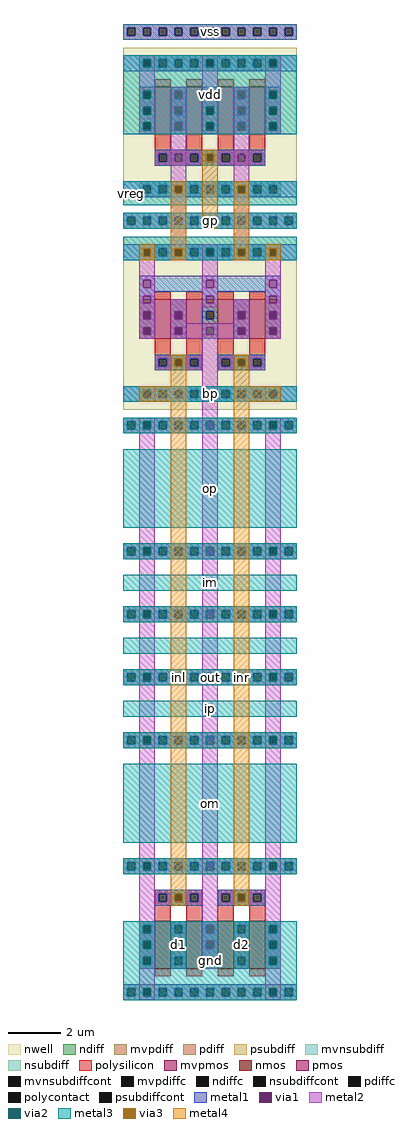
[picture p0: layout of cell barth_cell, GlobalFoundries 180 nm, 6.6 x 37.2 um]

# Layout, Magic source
magic
tech gf180mcuC
<< nwell >>
rect -720 474 -588 594
rect -720 318 -588 450
<< nmos >>
rect -696 -108 -684 -72
rect -672 -108 -660 -72
rect -648 -108 -636 -72
rect -624 -108 -612 -72
<< pmos >>
rect -696 372 -684 402
rect -672 372 -660 402
rect -648 372 -636 402
rect -624 372 -612 402
<< mvpmos >>
rect -696 528 -684 564
rect -672 528 -660 564
rect -648 528 -636 564
rect -624 528 -612 564
<< ndiff >>
rect -708 -75 -696 -72
rect -708 -81 -705 -75
rect -699 -81 -696 -75
rect -708 -87 -696 -81
rect -708 -93 -705 -87
rect -699 -93 -696 -87
rect -708 -99 -696 -93
rect -708 -105 -705 -99
rect -699 -105 -696 -99
rect -708 -108 -696 -105
rect -684 -75 -672 -72
rect -684 -81 -681 -75
rect -675 -81 -672 -75
rect -684 -87 -672 -81
rect -684 -93 -681 -87
rect -675 -93 -672 -87
rect -684 -99 -672 -93
rect -684 -105 -681 -99
rect -675 -105 -672 -99
rect -684 -108 -672 -105
rect -660 -75 -648 -72
rect -660 -81 -657 -75
rect -651 -81 -648 -75
rect -660 -87 -648 -81
rect -660 -93 -657 -87
rect -651 -93 -648 -87
rect -660 -99 -648 -93
rect -660 -105 -657 -99
rect -651 -105 -648 -99
rect -660 -108 -648 -105
rect -636 -75 -624 -72
rect -636 -81 -633 -75
rect -627 -81 -624 -75
rect -636 -87 -624 -81
rect -636 -93 -633 -87
rect -627 -93 -624 -87
rect -636 -99 -624 -93
rect -636 -105 -633 -99
rect -627 -105 -624 -99
rect -636 -108 -624 -105
rect -612 -75 -600 -72
rect -612 -81 -609 -75
rect -603 -81 -600 -75
rect -612 -87 -600 -81
rect -612 -93 -609 -87
rect -603 -93 -600 -87
rect -612 -99 -600 -93
rect -612 -105 -609 -99
rect -603 -105 -600 -99
rect -612 -108 -600 -105
<< pdiff >>
rect -708 393 -696 402
rect -708 387 -705 393
rect -699 387 -696 393
rect -708 381 -696 387
rect -708 375 -705 381
rect -699 375 -696 381
rect -708 372 -696 375
rect -684 393 -672 402
rect -684 387 -681 393
rect -675 387 -672 393
rect -684 381 -672 387
rect -684 375 -681 381
rect -675 375 -672 381
rect -684 372 -672 375
rect -660 393 -648 402
rect -660 387 -657 393
rect -651 387 -648 393
rect -660 381 -648 387
rect -660 375 -657 381
rect -651 375 -648 381
rect -660 372 -648 375
rect -636 393 -624 402
rect -636 387 -633 393
rect -627 387 -624 393
rect -636 381 -624 387
rect -636 375 -633 381
rect -627 375 -624 381
rect -636 372 -624 375
rect -612 393 -600 402
rect -612 387 -609 393
rect -603 387 -600 393
rect -612 381 -600 387
rect -612 375 -609 381
rect -603 375 -600 381
rect -612 372 -600 375
<< mvpdiff >>
rect -708 561 -696 564
rect -708 555 -705 561
rect -699 555 -696 561
rect -708 549 -696 555
rect -708 543 -705 549
rect -699 543 -696 549
rect -708 537 -696 543
rect -708 531 -705 537
rect -699 531 -696 537
rect -708 528 -696 531
rect -684 561 -672 564
rect -684 555 -681 561
rect -675 555 -672 561
rect -684 549 -672 555
rect -684 543 -681 549
rect -675 543 -672 549
rect -684 537 -672 543
rect -684 531 -681 537
rect -675 531 -672 537
rect -684 528 -672 531
rect -660 561 -648 564
rect -660 555 -657 561
rect -651 555 -648 561
rect -660 549 -648 555
rect -660 543 -657 549
rect -651 543 -648 549
rect -660 537 -648 543
rect -660 531 -657 537
rect -651 531 -648 537
rect -660 528 -648 531
rect -636 561 -624 564
rect -636 555 -633 561
rect -627 555 -624 561
rect -636 549 -624 555
rect -636 543 -633 549
rect -627 543 -624 549
rect -636 537 -624 543
rect -636 531 -633 537
rect -627 531 -624 537
rect -636 528 -624 531
rect -612 561 -600 564
rect -612 555 -609 561
rect -603 555 -600 561
rect -612 549 -600 555
rect -612 543 -609 549
rect -603 543 -600 549
rect -612 537 -600 543
rect -612 531 -609 537
rect -603 531 -600 537
rect -612 528 -600 531
<< ndiffc >>
rect -705 -81 -699 -75
rect -705 -93 -699 -87
rect -705 -105 -699 -99
rect -681 -81 -675 -75
rect -681 -93 -675 -87
rect -681 -105 -675 -99
rect -657 -81 -651 -75
rect -657 -93 -651 -87
rect -657 -105 -651 -99
rect -633 -81 -627 -75
rect -633 -93 -627 -87
rect -633 -105 -627 -99
rect -609 -81 -603 -75
rect -609 -93 -603 -87
rect -609 -105 -603 -99
<< pdiffc >>
rect -705 387 -699 393
rect -705 375 -699 381
rect -681 387 -675 393
rect -681 375 -675 381
rect -657 387 -651 393
rect -657 375 -651 381
rect -633 387 -627 393
rect -633 375 -627 381
rect -609 387 -603 393
rect -609 375 -603 381
<< mvpdiffc >>
rect -705 555 -699 561
rect -705 543 -699 549
rect -705 531 -699 537
rect -681 555 -675 561
rect -681 543 -675 549
rect -681 531 -675 537
rect -657 555 -651 561
rect -657 543 -651 549
rect -657 531 -651 537
rect -633 555 -627 561
rect -633 543 -627 549
rect -633 531 -627 537
rect -609 555 -603 561
rect -609 543 -603 549
rect -609 531 -603 537
<< psubdiff >>
rect -720 609 -588 612
rect -720 603 -717 609
rect -711 603 -705 609
rect -699 603 -693 609
rect -687 603 -681 609
rect -675 603 -669 609
rect -663 603 -657 609
rect -651 603 -645 609
rect -639 603 -633 609
rect -627 603 -621 609
rect -615 603 -609 609
rect -603 603 -597 609
rect -591 603 -588 609
rect -720 600 -588 603
rect -720 465 -588 468
rect -720 459 -717 465
rect -711 459 -705 465
rect -699 459 -693 465
rect -687 459 -681 465
rect -675 459 -669 465
rect -663 459 -657 465
rect -651 459 -645 465
rect -639 459 -633 465
rect -627 459 -621 465
rect -615 459 -609 465
rect -603 459 -597 465
rect -591 459 -588 465
rect -720 456 -588 459
rect -720 309 -588 312
rect -720 303 -717 309
rect -711 303 -705 309
rect -699 303 -693 309
rect -687 303 -681 309
rect -675 303 -669 309
rect -663 303 -657 309
rect -651 303 -645 309
rect -639 303 -633 309
rect -627 303 -621 309
rect -615 303 -609 309
rect -603 303 -597 309
rect -591 303 -588 309
rect -720 300 -588 303
rect -720 213 -588 216
rect -720 207 -717 213
rect -711 207 -705 213
rect -699 207 -693 213
rect -687 207 -681 213
rect -675 207 -669 213
rect -663 207 -657 213
rect -651 207 -645 213
rect -639 207 -633 213
rect -627 207 -621 213
rect -615 207 -609 213
rect -603 207 -597 213
rect -591 207 -588 213
rect -720 204 -588 207
rect -720 165 -588 168
rect -720 159 -717 165
rect -711 159 -705 165
rect -699 159 -693 165
rect -687 159 -681 165
rect -675 159 -669 165
rect -663 159 -657 165
rect -651 159 -645 165
rect -639 159 -633 165
rect -627 159 -621 165
rect -615 159 -609 165
rect -603 159 -597 165
rect -591 159 -588 165
rect -720 156 -588 159
rect -720 117 -588 120
rect -720 111 -717 117
rect -711 111 -705 117
rect -699 111 -693 117
rect -687 111 -681 117
rect -675 111 -669 117
rect -663 111 -657 117
rect -651 111 -645 117
rect -639 111 -633 117
rect -627 111 -621 117
rect -615 111 -609 117
rect -603 111 -597 117
rect -591 111 -588 117
rect -720 108 -588 111
rect -720 69 -588 72
rect -720 63 -717 69
rect -711 63 -705 69
rect -699 63 -693 69
rect -687 63 -681 69
rect -675 63 -669 69
rect -663 63 -657 69
rect -651 63 -645 69
rect -639 63 -633 69
rect -627 63 -621 69
rect -615 63 -609 69
rect -603 63 -597 69
rect -591 63 -588 69
rect -720 60 -588 63
rect -720 -27 -588 -24
rect -720 -33 -717 -27
rect -711 -33 -705 -27
rect -699 -33 -693 -27
rect -687 -33 -681 -27
rect -675 -33 -669 -27
rect -663 -33 -657 -27
rect -651 -33 -645 -27
rect -639 -33 -633 -27
rect -627 -33 -621 -27
rect -615 -33 -609 -27
rect -603 -33 -597 -27
rect -591 -33 -588 -27
rect -720 -36 -588 -33
rect -720 -123 -588 -120
rect -720 -129 -717 -123
rect -711 -129 -705 -123
rect -699 -129 -693 -123
rect -687 -129 -681 -123
rect -675 -129 -669 -123
rect -663 -129 -657 -123
rect -651 -129 -645 -123
rect -639 -129 -633 -123
rect -627 -129 -621 -123
rect -615 -129 -609 -123
rect -603 -129 -597 -123
rect -591 -129 -588 -123
rect -720 -132 -588 -129
<< nsubdiff >>
rect -708 441 -600 444
rect -708 435 -705 441
rect -699 435 -693 441
rect -687 435 -681 441
rect -675 435 -669 441
rect -663 435 -657 441
rect -651 435 -645 441
rect -639 435 -633 441
rect -627 435 -621 441
rect -615 435 -609 441
rect -603 435 -600 441
rect -708 432 -600 435
rect -708 333 -600 336
rect -708 327 -705 333
rect -699 327 -693 333
rect -687 327 -681 333
rect -675 327 -669 333
rect -663 327 -657 333
rect -651 327 -645 333
rect -639 327 -633 333
rect -627 327 -621 333
rect -615 327 -609 333
rect -603 327 -600 333
rect -708 324 -600 327
<< mvnsubdiff >>
rect -708 585 -600 588
rect -708 579 -705 585
rect -699 579 -693 585
rect -687 579 -681 585
rect -675 579 -669 585
rect -663 579 -657 585
rect -651 579 -645 585
rect -639 579 -633 585
rect -627 579 -621 585
rect -615 579 -609 585
rect -603 579 -600 585
rect -708 576 -600 579
rect -708 489 -600 492
rect -708 483 -705 489
rect -699 483 -693 489
rect -687 483 -681 489
rect -675 483 -669 489
rect -663 483 -657 489
rect -651 483 -645 489
rect -639 483 -633 489
rect -627 483 -621 489
rect -615 483 -609 489
rect -603 483 -600 489
rect -708 480 -600 483
<< psubdiffcont >>
rect -717 603 -711 609
rect -705 603 -699 609
rect -693 603 -687 609
rect -681 603 -675 609
rect -669 603 -663 609
rect -657 603 -651 609
rect -645 603 -639 609
rect -633 603 -627 609
rect -621 603 -615 609
rect -609 603 -603 609
rect -597 603 -591 609
rect -717 459 -711 465
rect -705 459 -699 465
rect -693 459 -687 465
rect -681 459 -675 465
rect -669 459 -663 465
rect -657 459 -651 465
rect -645 459 -639 465
rect -633 459 -627 465
rect -621 459 -615 465
rect -609 459 -603 465
rect -597 459 -591 465
rect -717 303 -711 309
rect -705 303 -699 309
rect -693 303 -687 309
rect -681 303 -675 309
rect -669 303 -663 309
rect -657 303 -651 309
rect -645 303 -639 309
rect -633 303 -627 309
rect -621 303 -615 309
rect -609 303 -603 309
rect -597 303 -591 309
rect -717 207 -711 213
rect -705 207 -699 213
rect -693 207 -687 213
rect -681 207 -675 213
rect -669 207 -663 213
rect -657 207 -651 213
rect -645 207 -639 213
rect -633 207 -627 213
rect -621 207 -615 213
rect -609 207 -603 213
rect -597 207 -591 213
rect -717 159 -711 165
rect -705 159 -699 165
rect -693 159 -687 165
rect -681 159 -675 165
rect -669 159 -663 165
rect -657 159 -651 165
rect -645 159 -639 165
rect -633 159 -627 165
rect -621 159 -615 165
rect -609 159 -603 165
rect -597 159 -591 165
rect -717 111 -711 117
rect -705 111 -699 117
rect -693 111 -687 117
rect -681 111 -675 117
rect -669 111 -663 117
rect -657 111 -651 117
rect -645 111 -639 117
rect -633 111 -627 117
rect -621 111 -615 117
rect -609 111 -603 117
rect -597 111 -591 117
rect -717 63 -711 69
rect -705 63 -699 69
rect -693 63 -687 69
rect -681 63 -675 69
rect -669 63 -663 69
rect -657 63 -651 69
rect -645 63 -639 69
rect -633 63 -627 69
rect -621 63 -615 69
rect -609 63 -603 69
rect -597 63 -591 69
rect -717 -33 -711 -27
rect -705 -33 -699 -27
rect -693 -33 -687 -27
rect -681 -33 -675 -27
rect -669 -33 -663 -27
rect -657 -33 -651 -27
rect -645 -33 -639 -27
rect -633 -33 -627 -27
rect -621 -33 -615 -27
rect -609 -33 -603 -27
rect -597 -33 -591 -27
rect -717 -129 -711 -123
rect -705 -129 -699 -123
rect -693 -129 -687 -123
rect -681 -129 -675 -123
rect -669 -129 -663 -123
rect -657 -129 -651 -123
rect -645 -129 -639 -123
rect -633 -129 -627 -123
rect -621 -129 -615 -123
rect -609 -129 -603 -123
rect -597 -129 -591 -123
<< nsubdiffcont >>
rect -705 435 -699 441
rect -693 435 -687 441
rect -681 435 -675 441
rect -669 435 -663 441
rect -657 435 -651 441
rect -645 435 -639 441
rect -633 435 -627 441
rect -621 435 -615 441
rect -609 435 -603 441
rect -705 327 -699 333
rect -693 327 -687 333
rect -681 327 -675 333
rect -669 327 -663 333
rect -657 327 -651 333
rect -645 327 -639 333
rect -633 327 -627 333
rect -621 327 -615 333
rect -609 327 -603 333
<< mvnsubdiffcont >>
rect -705 579 -699 585
rect -693 579 -687 585
rect -681 579 -675 585
rect -669 579 -663 585
rect -657 579 -651 585
rect -645 579 -639 585
rect -633 579 -627 585
rect -621 579 -615 585
rect -609 579 -603 585
rect -705 483 -699 489
rect -693 483 -687 489
rect -681 483 -675 489
rect -669 483 -663 489
rect -657 483 -651 489
rect -645 483 -639 489
rect -633 483 -627 489
rect -621 483 -615 489
rect -609 483 -603 489
<< polysilicon >>
rect -696 564 -684 570
rect -672 564 -660 570
rect -648 564 -636 570
rect -624 564 -612 570
rect -696 516 -684 528
rect -672 516 -660 528
rect -648 516 -636 528
rect -624 516 -612 528
rect -696 513 -612 516
rect -696 507 -693 513
rect -687 507 -681 513
rect -675 507 -669 513
rect -663 507 -657 513
rect -651 507 -645 513
rect -639 507 -633 513
rect -627 507 -621 513
rect -615 507 -612 513
rect -696 504 -612 507
rect -696 402 -684 408
rect -672 402 -660 408
rect -648 402 -636 408
rect -624 402 -612 408
rect -696 360 -684 372
rect -672 360 -660 372
rect -696 357 -660 360
rect -696 351 -693 357
rect -687 351 -681 357
rect -675 351 -669 357
rect -663 351 -660 357
rect -696 348 -660 351
rect -648 360 -636 372
rect -624 360 -612 372
rect -648 357 -612 360
rect -648 351 -645 357
rect -639 351 -633 357
rect -627 351 -621 357
rect -615 351 -612 357
rect -648 348 -612 351
rect -696 -51 -660 -48
rect -696 -57 -693 -51
rect -687 -57 -681 -51
rect -675 -57 -669 -51
rect -663 -57 -660 -51
rect -696 -60 -660 -57
rect -696 -72 -684 -60
rect -672 -72 -660 -60
rect -648 -51 -612 -48
rect -648 -57 -645 -51
rect -639 -57 -633 -51
rect -627 -57 -621 -51
rect -615 -57 -612 -51
rect -648 -60 -612 -57
rect -648 -72 -636 -60
rect -624 -72 -612 -60
rect -696 -114 -684 -108
rect -672 -114 -660 -108
rect -648 -114 -636 -108
rect -624 -114 -612 -108
<< polycontact >>
rect -693 507 -687 513
rect -681 507 -675 513
rect -669 507 -663 513
rect -657 507 -651 513
rect -645 507 -639 513
rect -633 507 -627 513
rect -621 507 -615 513
rect -693 351 -687 357
rect -681 351 -675 357
rect -669 351 -663 357
rect -645 351 -639 357
rect -633 351 -627 357
rect -621 351 -615 357
rect -693 -57 -687 -51
rect -681 -57 -675 -51
rect -669 -57 -663 -51
rect -645 -57 -639 -51
rect -633 -57 -627 -51
rect -621 -57 -615 -51
<< metal1 >>
rect -720 609 -588 612
rect -720 603 -717 609
rect -711 603 -705 609
rect -699 603 -693 609
rect -687 603 -681 609
rect -675 603 -669 609
rect -663 603 -657 609
rect -651 603 -645 609
rect -639 603 -633 609
rect -627 603 -621 609
rect -615 603 -609 609
rect -603 603 -597 609
rect -591 603 -588 609
rect -720 600 -588 603
rect -720 585 -588 588
rect -720 579 -705 585
rect -699 579 -693 585
rect -687 579 -681 585
rect -675 579 -669 585
rect -663 579 -657 585
rect -651 579 -645 585
rect -639 579 -633 585
rect -627 579 -621 585
rect -615 579 -609 585
rect -603 579 -588 585
rect -720 576 -588 579
rect -708 561 -696 564
rect -708 555 -705 561
rect -699 555 -696 561
rect -708 549 -696 555
rect -708 543 -705 549
rect -699 543 -696 549
rect -708 537 -696 543
rect -708 531 -705 537
rect -699 531 -696 537
rect -708 528 -696 531
rect -684 561 -672 564
rect -684 555 -681 561
rect -675 555 -672 561
rect -684 549 -672 555
rect -684 543 -681 549
rect -675 543 -672 549
rect -684 537 -672 543
rect -684 531 -681 537
rect -675 531 -672 537
rect -684 528 -672 531
rect -660 561 -648 564
rect -660 555 -657 561
rect -651 555 -648 561
rect -660 549 -648 555
rect -660 543 -657 549
rect -651 543 -648 549
rect -660 537 -648 543
rect -660 531 -657 537
rect -651 531 -648 537
rect -660 528 -648 531
rect -636 561 -624 564
rect -636 555 -633 561
rect -627 555 -624 561
rect -636 549 -624 555
rect -636 543 -633 549
rect -627 543 -624 549
rect -636 537 -624 543
rect -636 531 -633 537
rect -627 531 -624 537
rect -636 528 -624 531
rect -612 561 -600 564
rect -612 555 -609 561
rect -603 555 -600 561
rect -612 549 -600 555
rect -612 543 -609 549
rect -603 543 -600 549
rect -612 537 -600 543
rect -612 531 -609 537
rect -603 531 -600 537
rect -612 528 -600 531
rect -696 513 -612 516
rect -696 507 -693 513
rect -687 507 -681 513
rect -675 507 -669 513
rect -663 507 -657 513
rect -651 507 -645 513
rect -639 507 -633 513
rect -627 507 -621 513
rect -615 507 -612 513
rect -696 504 -612 507
rect -720 489 -588 492
rect -720 483 -705 489
rect -699 483 -693 489
rect -687 483 -681 489
rect -675 483 -669 489
rect -663 483 -657 489
rect -651 483 -645 489
rect -639 483 -633 489
rect -627 483 -621 489
rect -615 483 -609 489
rect -603 483 -588 489
rect -720 480 -588 483
rect -720 465 -588 468
rect -720 459 -717 465
rect -711 459 -705 465
rect -699 459 -693 465
rect -687 459 -681 465
rect -675 459 -669 465
rect -663 459 -657 465
rect -651 459 -645 465
rect -639 459 -633 465
rect -627 459 -621 465
rect -615 459 -609 465
rect -603 459 -597 465
rect -591 459 -588 465
rect -720 456 -588 459
rect -720 441 -588 444
rect -720 435 -705 441
rect -699 435 -693 441
rect -687 435 -681 441
rect -675 435 -669 441
rect -663 435 -657 441
rect -651 435 -645 441
rect -639 435 -633 441
rect -627 435 -621 441
rect -615 435 -609 441
rect -603 435 -588 441
rect -720 432 -588 435
rect -708 417 -600 420
rect -708 411 -705 417
rect -699 411 -657 417
rect -651 411 -609 417
rect -603 411 -600 417
rect -708 408 -600 411
rect -708 405 -696 408
rect -708 399 -705 405
rect -699 399 -696 405
rect -660 405 -648 408
rect -708 393 -696 399
rect -708 387 -705 393
rect -699 387 -696 393
rect -708 381 -696 387
rect -708 375 -705 381
rect -699 375 -696 381
rect -708 372 -696 375
rect -684 393 -672 402
rect -684 387 -681 393
rect -675 387 -672 393
rect -684 381 -672 387
rect -684 375 -681 381
rect -675 375 -672 381
rect -684 372 -672 375
rect -660 399 -657 405
rect -651 399 -648 405
rect -612 405 -600 408
rect -660 393 -648 399
rect -660 387 -657 393
rect -651 387 -648 393
rect -660 381 -648 387
rect -660 375 -657 381
rect -651 375 -648 381
rect -660 372 -648 375
rect -636 393 -624 402
rect -636 387 -633 393
rect -627 387 -624 393
rect -636 381 -624 387
rect -636 375 -633 381
rect -627 375 -624 381
rect -636 372 -624 375
rect -612 399 -609 405
rect -603 399 -600 405
rect -612 393 -600 399
rect -612 387 -609 393
rect -603 387 -600 393
rect -612 381 -600 387
rect -612 375 -609 381
rect -603 375 -600 381
rect -612 372 -600 375
rect -696 357 -660 360
rect -696 351 -693 357
rect -687 351 -681 357
rect -675 351 -669 357
rect -663 351 -660 357
rect -696 348 -660 351
rect -648 357 -612 360
rect -648 351 -645 357
rect -639 351 -633 357
rect -627 351 -621 357
rect -615 351 -612 357
rect -648 348 -612 351
rect -720 333 -588 336
rect -720 327 -705 333
rect -699 327 -693 333
rect -687 327 -681 333
rect -675 327 -669 333
rect -663 327 -657 333
rect -651 327 -645 333
rect -639 327 -633 333
rect -627 327 -621 333
rect -615 327 -609 333
rect -603 327 -588 333
rect -720 324 -588 327
rect -720 309 -588 312
rect -720 303 -717 309
rect -711 303 -705 309
rect -699 303 -693 309
rect -687 303 -681 309
rect -675 303 -669 309
rect -663 303 -657 309
rect -651 303 -645 309
rect -639 303 -633 309
rect -627 303 -621 309
rect -615 303 -609 309
rect -603 303 -597 309
rect -591 303 -588 309
rect -720 300 -588 303
rect -720 213 -588 216
rect -720 207 -717 213
rect -711 207 -705 213
rect -699 207 -693 213
rect -687 207 -681 213
rect -675 207 -669 213
rect -663 207 -657 213
rect -651 207 -645 213
rect -639 207 -633 213
rect -627 207 -621 213
rect -615 207 -609 213
rect -603 207 -597 213
rect -591 207 -588 213
rect -720 204 -588 207
rect -720 165 -588 168
rect -720 159 -717 165
rect -711 159 -705 165
rect -699 159 -693 165
rect -687 159 -681 165
rect -675 159 -669 165
rect -663 159 -657 165
rect -651 159 -645 165
rect -639 159 -633 165
rect -627 159 -621 165
rect -615 159 -609 165
rect -603 159 -597 165
rect -591 159 -588 165
rect -720 156 -588 159
rect -720 117 -588 120
rect -720 111 -717 117
rect -711 111 -705 117
rect -699 111 -693 117
rect -687 111 -681 117
rect -675 111 -669 117
rect -663 111 -657 117
rect -651 111 -645 117
rect -639 111 -633 117
rect -627 111 -621 117
rect -615 111 -609 117
rect -603 111 -597 117
rect -591 111 -588 117
rect -720 108 -588 111
rect -720 69 -588 72
rect -720 63 -717 69
rect -711 63 -705 69
rect -699 63 -693 69
rect -687 63 -681 69
rect -675 63 -669 69
rect -663 63 -657 69
rect -651 63 -645 69
rect -639 63 -633 69
rect -627 63 -621 69
rect -615 63 -609 69
rect -603 63 -597 69
rect -591 63 -588 69
rect -720 60 -588 63
rect -720 -27 -588 -24
rect -720 -33 -717 -27
rect -711 -33 -705 -27
rect -699 -33 -693 -27
rect -687 -33 -681 -27
rect -675 -33 -669 -27
rect -663 -33 -657 -27
rect -651 -33 -645 -27
rect -639 -33 -633 -27
rect -627 -33 -621 -27
rect -615 -33 -609 -27
rect -603 -33 -597 -27
rect -591 -33 -588 -27
rect -720 -36 -588 -33
rect -696 -51 -660 -48
rect -696 -57 -693 -51
rect -687 -57 -681 -51
rect -675 -57 -669 -51
rect -663 -57 -660 -51
rect -696 -60 -660 -57
rect -648 -51 -612 -48
rect -648 -57 -645 -51
rect -639 -57 -633 -51
rect -627 -57 -621 -51
rect -615 -57 -612 -51
rect -648 -60 -612 -57
rect -708 -75 -696 -72
rect -708 -81 -705 -75
rect -699 -81 -696 -75
rect -708 -87 -696 -81
rect -708 -93 -705 -87
rect -699 -93 -696 -87
rect -708 -99 -696 -93
rect -708 -105 -705 -99
rect -699 -105 -696 -99
rect -708 -108 -696 -105
rect -684 -75 -672 -72
rect -684 -81 -681 -75
rect -675 -81 -672 -75
rect -684 -87 -672 -81
rect -684 -93 -681 -87
rect -675 -93 -672 -87
rect -684 -99 -672 -93
rect -684 -105 -681 -99
rect -675 -105 -672 -99
rect -684 -108 -672 -105
rect -660 -75 -648 -72
rect -660 -81 -657 -75
rect -651 -81 -648 -75
rect -660 -87 -648 -81
rect -660 -93 -657 -87
rect -651 -93 -648 -87
rect -660 -99 -648 -93
rect -660 -105 -657 -99
rect -651 -105 -648 -99
rect -660 -108 -648 -105
rect -636 -75 -624 -72
rect -636 -81 -633 -75
rect -627 -81 -624 -75
rect -636 -87 -624 -81
rect -636 -93 -633 -87
rect -627 -93 -624 -87
rect -636 -99 -624 -93
rect -636 -105 -633 -99
rect -627 -105 -624 -99
rect -636 -108 -624 -105
rect -612 -75 -600 -72
rect -612 -81 -609 -75
rect -603 -81 -600 -75
rect -612 -87 -600 -81
rect -612 -93 -609 -87
rect -603 -93 -600 -87
rect -612 -99 -600 -93
rect -612 -105 -609 -99
rect -603 -105 -600 -99
rect -612 -108 -600 -105
rect -720 -123 -588 -120
rect -720 -129 -717 -123
rect -711 -129 -705 -123
rect -699 -129 -693 -123
rect -687 -129 -681 -123
rect -675 -129 -669 -123
rect -663 -129 -657 -123
rect -651 -129 -645 -123
rect -639 -129 -633 -123
rect -627 -129 -621 -123
rect -615 -129 -609 -123
rect -603 -129 -597 -123
rect -591 -129 -588 -123
rect -720 -132 -588 -129
<< via1 >>
rect -705 579 -699 585
rect -657 579 -651 585
rect -609 579 -603 585
rect -705 555 -699 561
rect -705 543 -699 549
rect -705 531 -699 537
rect -681 555 -675 561
rect -681 543 -675 549
rect -681 531 -675 537
rect -657 555 -651 561
rect -657 543 -651 549
rect -657 531 -651 537
rect -633 555 -627 561
rect -633 543 -627 549
rect -633 531 -627 537
rect -609 555 -603 561
rect -609 543 -603 549
rect -609 531 -603 537
rect -657 507 -651 513
rect -705 411 -699 417
rect -657 411 -651 417
rect -609 411 -603 417
rect -705 399 -699 405
rect -705 387 -699 393
rect -705 375 -699 381
rect -681 387 -675 393
rect -681 375 -675 381
rect -657 399 -651 405
rect -633 387 -627 393
rect -633 375 -627 381
rect -609 399 -603 405
rect -609 387 -603 393
rect -609 375 -603 381
rect -681 351 -675 357
rect -633 351 -627 357
rect -705 327 -699 333
rect -609 327 -603 333
rect -705 303 -699 309
rect -609 303 -603 309
rect -705 207 -699 213
rect -609 207 -603 213
rect -705 159 -699 165
rect -609 159 -603 165
rect -705 111 -699 117
rect -609 111 -603 117
rect -705 63 -699 69
rect -609 63 -603 69
rect -705 -33 -699 -27
rect -609 -33 -603 -27
rect -681 -57 -675 -51
rect -633 -57 -627 -51
rect -705 -81 -699 -75
rect -705 -93 -699 -87
rect -705 -105 -699 -99
rect -657 -81 -651 -75
rect -657 -93 -651 -87
rect -657 -105 -651 -99
rect -609 -81 -603 -75
rect -609 -93 -603 -87
rect -609 -105 -603 -99
rect -705 -129 -699 -123
rect -609 -129 -603 -123
<< metal2 >>
rect -708 585 -696 588
rect -708 579 -705 585
rect -699 579 -696 585
rect -708 561 -696 579
rect -660 585 -648 588
rect -660 579 -657 585
rect -651 579 -648 585
rect -708 555 -705 561
rect -699 555 -696 561
rect -708 549 -696 555
rect -708 543 -705 549
rect -699 543 -696 549
rect -708 537 -696 543
rect -708 531 -705 537
rect -699 531 -696 537
rect -708 528 -696 531
rect -684 561 -672 564
rect -684 555 -681 561
rect -675 555 -672 561
rect -684 549 -672 555
rect -684 543 -681 549
rect -675 543 -672 549
rect -684 537 -672 543
rect -684 531 -681 537
rect -675 531 -672 537
rect -684 489 -672 531
rect -660 561 -648 579
rect -612 585 -600 588
rect -612 579 -609 585
rect -603 579 -600 585
rect -660 555 -657 561
rect -651 555 -648 561
rect -660 549 -648 555
rect -660 543 -657 549
rect -651 543 -648 549
rect -660 537 -648 543
rect -660 531 -657 537
rect -651 531 -648 537
rect -660 528 -648 531
rect -636 561 -624 564
rect -636 555 -633 561
rect -627 555 -624 561
rect -636 549 -624 555
rect -636 543 -633 549
rect -627 543 -624 549
rect -636 537 -624 543
rect -636 531 -633 537
rect -627 531 -624 537
rect -660 513 -648 516
rect -660 507 -657 513
rect -651 507 -648 513
rect -660 504 -648 507
rect -684 483 -681 489
rect -675 483 -672 489
rect -708 441 -696 444
rect -708 435 -705 441
rect -699 435 -696 441
rect -708 417 -696 435
rect -684 441 -672 483
rect -636 489 -624 531
rect -612 561 -600 579
rect -612 555 -609 561
rect -603 555 -600 561
rect -612 549 -600 555
rect -612 543 -609 549
rect -603 543 -600 549
rect -612 537 -600 543
rect -612 531 -609 537
rect -603 531 -600 537
rect -612 528 -600 531
rect -636 483 -633 489
rect -627 483 -624 489
rect -684 435 -681 441
rect -675 435 -672 441
rect -684 432 -672 435
rect -660 441 -648 444
rect -660 435 -657 441
rect -651 435 -648 441
rect -708 411 -705 417
rect -699 411 -696 417
rect -708 405 -696 411
rect -708 399 -705 405
rect -699 399 -696 405
rect -660 417 -648 435
rect -636 441 -624 483
rect -636 435 -633 441
rect -627 435 -624 441
rect -636 432 -624 435
rect -612 441 -600 444
rect -612 435 -609 441
rect -603 435 -600 441
rect -660 411 -657 417
rect -651 411 -648 417
rect -660 405 -648 411
rect -708 393 -696 399
rect -708 387 -705 393
rect -699 387 -696 393
rect -708 381 -696 387
rect -708 375 -705 381
rect -699 375 -696 381
rect -708 372 -696 375
rect -684 393 -672 402
rect -660 399 -657 405
rect -651 399 -648 405
rect -612 417 -600 435
rect -612 411 -609 417
rect -603 411 -600 417
rect -612 405 -600 411
rect -660 396 -648 399
rect -684 387 -681 393
rect -675 387 -672 393
rect -684 384 -672 387
rect -636 393 -624 402
rect -636 387 -633 393
rect -627 387 -624 393
rect -636 384 -624 387
rect -684 381 -624 384
rect -684 375 -681 381
rect -675 375 -633 381
rect -627 375 -624 381
rect -684 372 -624 375
rect -612 399 -609 405
rect -603 399 -600 405
rect -612 393 -600 399
rect -612 387 -609 393
rect -603 387 -600 393
rect -612 381 -600 387
rect -612 375 -609 381
rect -603 375 -600 381
rect -612 372 -600 375
rect -684 357 -672 360
rect -684 351 -681 357
rect -675 351 -672 357
rect -684 348 -672 351
rect -708 333 -696 336
rect -708 327 -705 333
rect -699 327 -696 333
rect -708 324 -696 327
rect -708 309 -696 312
rect -708 303 -705 309
rect -699 303 -696 309
rect -708 213 -696 303
rect -708 207 -705 213
rect -699 207 -696 213
rect -708 165 -696 207
rect -708 159 -705 165
rect -699 159 -696 165
rect -708 117 -696 159
rect -708 111 -705 117
rect -699 111 -696 117
rect -708 69 -696 111
rect -708 63 -705 69
rect -699 63 -696 69
rect -708 -27 -696 63
rect -708 -33 -705 -27
rect -699 -33 -696 -27
rect -708 -75 -696 -33
rect -684 -51 -672 -48
rect -684 -57 -681 -51
rect -675 -57 -672 -51
rect -684 -60 -672 -57
rect -708 -81 -705 -75
rect -699 -81 -696 -75
rect -708 -87 -696 -81
rect -708 -93 -705 -87
rect -699 -93 -696 -87
rect -708 -99 -696 -93
rect -708 -105 -705 -99
rect -699 -105 -696 -99
rect -708 -123 -696 -105
rect -660 -75 -648 372
rect -636 357 -624 360
rect -636 351 -633 357
rect -627 351 -624 357
rect -636 348 -624 351
rect -612 333 -600 336
rect -612 327 -609 333
rect -603 327 -600 333
rect -612 324 -600 327
rect -612 309 -600 312
rect -612 303 -609 309
rect -603 303 -600 309
rect -612 213 -600 303
rect -612 207 -609 213
rect -603 207 -600 213
rect -612 165 -600 207
rect -612 159 -609 165
rect -603 159 -600 165
rect -612 117 -600 159
rect -612 111 -609 117
rect -603 111 -600 117
rect -612 69 -600 111
rect -612 63 -609 69
rect -603 63 -600 69
rect -612 -27 -600 63
rect -612 -33 -609 -27
rect -603 -33 -600 -27
rect -636 -51 -624 -48
rect -636 -57 -633 -51
rect -627 -57 -624 -51
rect -636 -60 -624 -57
rect -660 -81 -657 -75
rect -651 -81 -648 -75
rect -660 -87 -648 -81
rect -660 -93 -657 -87
rect -651 -93 -648 -87
rect -660 -99 -648 -93
rect -660 -105 -657 -99
rect -651 -105 -648 -99
rect -660 -108 -648 -105
rect -612 -75 -600 -33
rect -612 -81 -609 -75
rect -603 -81 -600 -75
rect -612 -87 -600 -81
rect -612 -93 -609 -87
rect -603 -93 -600 -87
rect -612 -99 -600 -93
rect -612 -105 -609 -99
rect -603 -105 -600 -99
rect -708 -129 -705 -123
rect -699 -129 -696 -123
rect -708 -132 -696 -129
rect -612 -123 -600 -105
rect -612 -129 -609 -123
rect -603 -129 -600 -123
rect -612 -132 -600 -129
<< via2 >>
rect -705 579 -699 585
rect -657 579 -651 585
rect -705 555 -699 561
rect -705 543 -699 549
rect -705 531 -699 537
rect -609 579 -603 585
rect -657 555 -651 561
rect -657 543 -651 549
rect -657 531 -651 537
rect -657 507 -651 513
rect -681 483 -675 489
rect -705 435 -699 441
rect -609 555 -603 561
rect -609 543 -603 549
rect -609 531 -603 537
rect -633 483 -627 489
rect -681 435 -675 441
rect -657 435 -651 441
rect -633 435 -627 441
rect -609 435 -603 441
rect -681 351 -675 357
rect -705 327 -699 333
rect -705 303 -699 309
rect -705 207 -699 213
rect -705 159 -699 165
rect -705 111 -699 117
rect -705 63 -699 69
rect -705 -33 -699 -27
rect -681 -57 -675 -51
rect -705 -81 -699 -75
rect -705 -93 -699 -87
rect -705 -105 -699 -99
rect -633 351 -627 357
rect -609 327 -603 333
rect -609 303 -603 309
rect -609 207 -603 213
rect -609 159 -603 165
rect -609 111 -603 117
rect -609 63 -603 69
rect -609 -33 -603 -27
rect -633 -57 -627 -51
rect -609 -81 -603 -75
rect -609 -93 -603 -87
rect -609 -105 -603 -99
rect -705 -129 -699 -123
rect -609 -129 -603 -123
<< metal3 >>
rect -720 585 -588 588
rect -720 579 -705 585
rect -699 579 -657 585
rect -651 579 -609 585
rect -603 579 -588 585
rect -720 561 -588 579
rect -720 555 -705 561
rect -699 555 -657 561
rect -651 555 -609 561
rect -603 555 -588 561
rect -720 549 -588 555
rect -720 543 -705 549
rect -699 543 -657 549
rect -651 543 -609 549
rect -603 543 -588 549
rect -720 537 -588 543
rect -720 531 -705 537
rect -699 531 -657 537
rect -651 531 -609 537
rect -603 531 -588 537
rect -720 528 -588 531
rect -660 513 -648 516
rect -660 507 -657 513
rect -651 507 -648 513
rect -660 504 -648 507
rect -720 489 -588 492
rect -720 483 -681 489
rect -675 483 -633 489
rect -627 483 -588 489
rect -720 474 -588 483
rect -720 465 -588 468
rect -720 459 -657 465
rect -651 459 -588 465
rect -720 456 -588 459
rect -720 441 -588 450
rect -720 435 -705 441
rect -699 435 -681 441
rect -675 435 -657 441
rect -651 435 -633 441
rect -627 435 -609 441
rect -603 435 -588 441
rect -720 432 -588 435
rect -684 357 -672 360
rect -684 351 -681 357
rect -675 351 -672 357
rect -684 348 -672 351
rect -636 357 -624 360
rect -636 351 -633 357
rect -627 351 -624 357
rect -636 348 -624 351
rect -720 333 -588 336
rect -720 327 -705 333
rect -699 327 -609 333
rect -603 327 -588 333
rect -720 324 -588 327
rect -720 309 -588 312
rect -720 303 -705 309
rect -699 303 -609 309
rect -603 303 -588 309
rect -720 300 -588 303
rect -720 228 -588 288
rect -720 213 -588 216
rect -720 207 -705 213
rect -699 207 -609 213
rect -603 207 -588 213
rect -720 204 -588 207
rect -720 180 -588 192
rect -720 165 -588 168
rect -720 159 -705 165
rect -699 159 -609 165
rect -603 159 -588 165
rect -720 156 -588 159
rect -720 132 -588 144
rect -720 117 -588 120
rect -720 111 -705 117
rect -699 111 -609 117
rect -603 111 -588 117
rect -720 108 -588 111
rect -720 84 -588 96
rect -720 69 -588 72
rect -720 63 -705 69
rect -699 63 -609 69
rect -603 63 -588 69
rect -720 60 -588 63
rect -720 -12 -588 48
rect -720 -27 -588 -24
rect -720 -33 -705 -27
rect -699 -33 -609 -27
rect -603 -33 -588 -27
rect -720 -36 -588 -33
rect -684 -51 -672 -48
rect -684 -57 -681 -51
rect -675 -57 -672 -51
rect -684 -60 -672 -57
rect -636 -51 -624 -48
rect -636 -57 -633 -51
rect -627 -57 -624 -51
rect -636 -60 -624 -57
rect -720 -75 -588 -72
rect -720 -81 -705 -75
rect -699 -81 -609 -75
rect -603 -81 -588 -75
rect -720 -87 -588 -81
rect -720 -93 -705 -87
rect -699 -93 -609 -87
rect -603 -93 -588 -87
rect -720 -99 -588 -93
rect -720 -105 -705 -99
rect -699 -105 -609 -99
rect -603 -105 -588 -99
rect -720 -123 -588 -105
rect -720 -129 -705 -123
rect -699 -129 -609 -123
rect -603 -129 -588 -123
rect -720 -132 -588 -129
<< via3 >>
rect -657 507 -651 513
rect -681 483 -675 489
rect -633 483 -627 489
rect -657 459 -651 465
rect -705 435 -699 441
rect -681 435 -675 441
rect -633 435 -627 441
rect -609 435 -603 441
rect -681 351 -675 357
rect -633 351 -627 357
rect -681 -57 -675 -51
rect -633 -57 -627 -51
<< metal4 >>
rect -660 513 -648 516
rect -660 507 -657 513
rect -651 507 -648 513
rect -684 489 -672 492
rect -684 483 -681 489
rect -675 483 -672 489
rect -708 441 -696 444
rect -708 435 -705 441
rect -699 435 -696 441
rect -708 432 -696 435
rect -684 441 -672 483
rect -660 465 -648 507
rect -660 459 -657 465
rect -651 459 -648 465
rect -660 456 -648 459
rect -636 489 -624 492
rect -636 483 -633 489
rect -627 483 -624 489
rect -684 435 -681 441
rect -675 435 -672 441
rect -684 432 -672 435
rect -636 441 -624 483
rect -636 435 -633 441
rect -627 435 -624 441
rect -636 432 -624 435
rect -612 441 -600 444
rect -612 435 -609 441
rect -603 435 -600 441
rect -612 432 -600 435
rect -684 357 -672 360
rect -684 351 -681 357
rect -675 351 -672 357
rect -684 336 -672 351
rect -708 324 -672 336
rect -684 -51 -672 324
rect -684 -57 -681 -51
rect -675 -57 -672 -51
rect -684 -60 -672 -57
rect -636 357 -624 360
rect -636 351 -633 357
rect -627 351 -624 357
rect -636 336 -624 351
rect -636 324 -600 336
rect -636 -51 -624 324
rect -636 -57 -633 -51
rect -627 -57 -624 -51
rect -636 -60 -624 -57
<< labels >>
rlabel metal4 -684 -12 -672 240 0 inl
port 1 nsew
rlabel metal4 -636 -12 -624 240 0 inr
port 2 nsew
rlabel metal2 -660 -12 -648 240 0 out
port 3 nsew
rlabel metal3 -720 528 -588 588 0 vdd
port 4 nsew
rlabel metal3 -720 456 -588 468 0 gp
port 5 nsew
rlabel nwell -720 324 -588 336 0 bp
port 6 nsew
rlabel metal3 -720 474 -708 492 0 vreg
port 7 nsew
rlabel metal3 -720 228 -588 288 0 op
port 8 nsew
rlabel metal3 -720 180 -588 192 0 im
port 9 nsew
rlabel metal3 -720 84 -588 96 0 ip
port 10 nsew
rlabel metal3 -720 -12 -588 48 0 om
port 11 nsew
rlabel metal3 -720 -132 -588 -72 0 gnd
port 12 nsew
rlabel metal1 -684 -108 -672 -72 0 d1
rlabel metal1 -636 -108 -624 -72 0 d2
rlabel metal1 -720 600 -588 612 0 vss
rlabel metal1 -720 456 -588 468 0 vss
<< end >>
